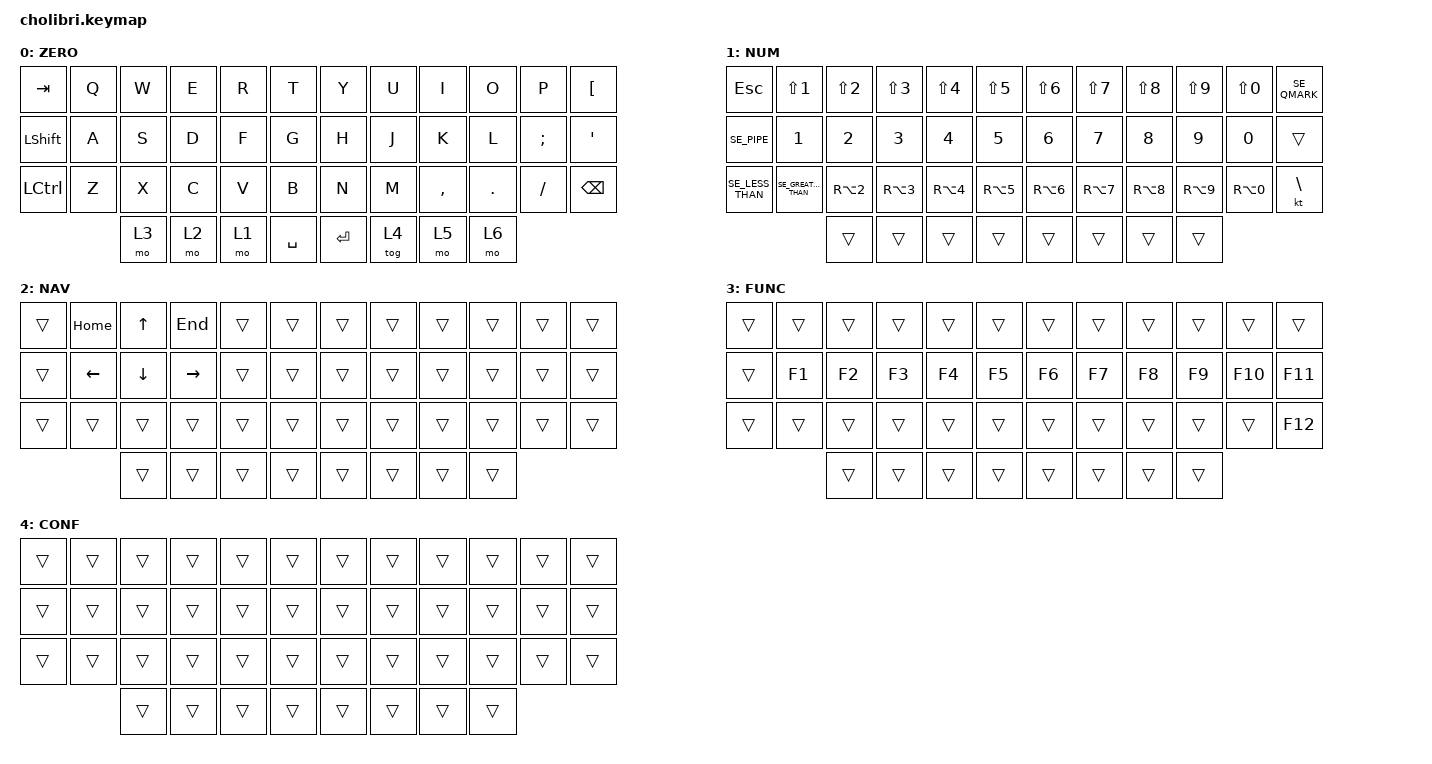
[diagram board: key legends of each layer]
#include "keys_se_finland_sweden.h"


#include <behaviors.dtsi>
#include <dt-bindings/zmk/keys.h>
#include <dt-bindings/zmk/bt.h>
#include <dt-bindings/zmk/outputs.h>
#include <dt-bindings/zmk/mouse.h>
#include <behaviors/mouse_keys.dtsi>



/ {
    keymap {
        compatible = "zmk,keymap";

        QWERTY {
            // --------------------------------------------------------------------------------------------------------------------------------------------------------------------
            // |   ESC   |    Q    |    W    |    E    |    R    |    T    |                                          |    Y    |    U    |    I    |    O    |    P    |    \    |
            // |   TAB   |    A    |    S    |    D    |    F    |    G    |                                          |    H    |    J    |    K    |    L    |    ;    |    '    |
            // |  SHIFT  |    Z    |    X    |    C    |    V    |    B    |                                          |    N    |    M    |    ,    |    .    |    /    |  R CTRL |
            //                               |   GUI   |   DEL   | RETURN  |  SPACE  |                      |  SPACE  |   TAB   |   BSPC  |  R ALT  |

            bindings = <
&kp TAB         &kp Q  &kp W  &kp E  &kp R  &kp T      &kp Y      &kp U   &kp I      &kp O    &kp P     &kp LBKT
&kp LEFT_SHIFT  &kp A  &kp S  &kp D  &kp F  &kp G      &kp H      &kp J   &kp K      &kp L    &kp SEMI  &kp APOS
&kp LCTRL       &kp Z  &kp X  &kp C  &kp V  &kp B      &kp N      &kp M   &kp COMMA  &kp DOT  &kp FSLH  &kp BSPC
                       &mo 3  &mo 2  &mo 1  &kp SPACE  &kp ENTER  &tog 4  &mo 5      &mo 6
            >;

            label = "ZERO";
        };

        NUM {
            bindings = <
&kp ESC   &kp LS(NUMBER_1)  &kp LS(NUMBER_2)  &kp LS(NUMBER_3)  &kp LS(NUMBER_4)  &kp LS(N5)  &kp LS(N6)  &kp LS(N7)  &kp LS(N8)  &kp LS(N9)  &kp LS(N0)  &kp SE_QMARK
&kp SE_PIPE  &kp N1            &kp N2            &kp N3            &kp N4            &kp N5      &kp N6      &kp N7      &kp N8      &kp N9      &kp N0      &trans
&kp SE_LESS_THAN    &kp SE_GREATER_THAN           &kp RA(NUMBER_2)  &kp RA(N3)        &kp RA(N4)        &kp RA(N5)  &kp RA(N6)  &kp RA(N7)  &kp RA(N8)  &kp RA(N9)  &kp RA(N0)  &kt BSLH
                            &trans            &trans            &trans            &trans      &trans      &trans      &trans      &trans
            >;
        };

        NAV {
            bindings = <
&trans  &kp HOME  &kp UP    &kp END    &trans  &trans  &trans  &trans  &trans  &trans  &trans  &trans
&trans  &kp LEFT  &kp DOWN  &kp RIGHT  &trans  &trans  &trans  &trans  &trans  &trans  &trans  &trans
&trans  &trans    &trans    &trans     &trans  &trans  &trans  &trans  &trans  &trans  &trans  &trans
                  &trans    &trans     &trans  &trans  &trans  &trans  &trans  &trans
            >;
        };

        FUNC {
            bindings = <
&trans  &trans  &trans  &trans  &trans  &trans  &trans  &trans  &trans  &trans  &trans   &trans
&trans  &kp F1  &kp F2  &kp F3  &kp F4  &kp F5  &kp F6  &kp F7  &kp F8  &kp F9  &kp F10  &kp F11
&trans  &trans  &trans  &trans  &trans  &trans  &trans  &trans  &trans  &trans  &trans   &kp F12
                &trans  &trans  &trans  &trans  &trans  &trans  &trans  &trans
            >;
        };

        CONF {
            bindings = <
&trans  &trans  &trans  &trans  &trans  &trans  &trans  &trans  &trans  &trans  &trans  &trans
&trans  &trans  &trans  &trans  &trans  &trans  &trans  &trans  &trans  &trans  &trans  &trans
&trans  &trans  &trans  &trans  &trans  &trans  &trans  &trans  &trans  &trans  &trans  &trans
                &trans  &trans  &trans  &trans  &trans  &trans  &trans  &trans
            >;
        };
    };
};
